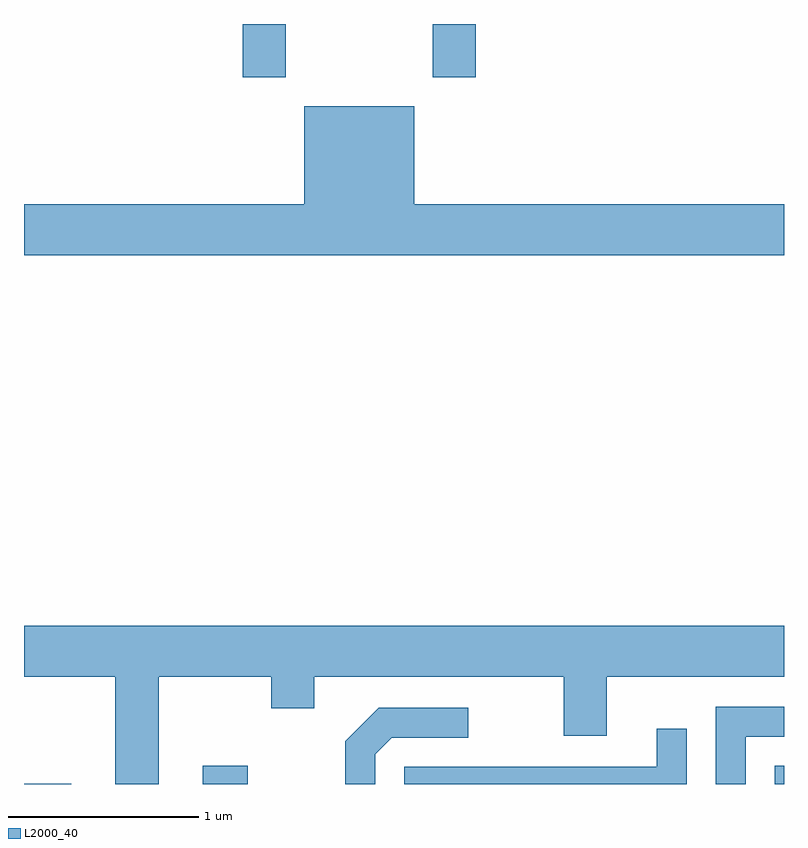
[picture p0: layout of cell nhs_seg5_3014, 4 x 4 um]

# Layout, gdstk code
import gdstk
lib = gdstk.Library(unit=1e-6, precision=1e-09)
def R(c, l, rs):  # rectangles x0, y0, x1, y1
    for r in rs: c.add(gdstk.rectangle(r[:2], r[2:], *l))
def P(c, l, *ps):  # polygons
    for p in ps: c.add(gdstk.Polygon(p, *l))
L2000_40 = (2000, 40)

nhs_seg5_3014 = lib.new_cell('nhs_seg5_3014')
R(nhs_seg5_3014, L2000_40, [(275.611,1394.072,275.859,1394.074), (276.551,1394.072,276.788,1394.169), (279.561,1394.072,279.611,1394.169), (276.761,1397.791,276.989,1398.072), (277.761,1397.791,277.989,1398.072)])
P(nhs_seg5_3014, L2000_40, [(279.611,1397.124),(277.664,1397.124),(277.664,1397.639),(277.086,1397.639),(277.086,1397.124),(275.611,1397.124),(275.611,1396.856),(279.611,1396.856)],
  [(276.319,1394.636),(276.911,1394.636),(276.911,1394.471),(277.139,1394.471),(277.139,1394.636),(278.451,1394.636),(278.451,1394.326),(278.679,1394.326),(278.679,1394.636),(279.611,1394.636),(279.611,1394.904),(275.611,1394.904),(275.611,1394.636),(276.091,1394.636),(276.091,1394.072),(276.319,1394.072)],
  [(279.409,1394.321),(279.611,1394.321),(279.611,1394.479),(279.251,1394.479),(279.251,1394.072),(279.409,1394.072)],
  [(277.459,1394.229),(277.547,1394.316),(277.948,1394.316),(277.948,1394.474),(277.479,1394.474),(277.301,1394.297),(277.301,1394.072),(277.459,1394.072)],
  [(279.099,1394.363),(278.941,1394.363),(278.941,1394.164),(277.611,1394.164),(277.611,1394.072),(279.099,1394.072)])

lib.write_gds('nhs_seg5_3014.gds')
